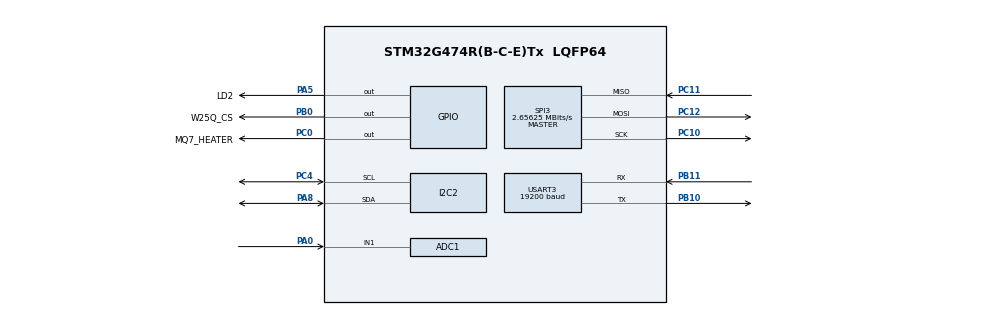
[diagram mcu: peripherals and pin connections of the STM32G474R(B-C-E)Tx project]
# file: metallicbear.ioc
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ADC1.Channel-2\#ChannelRegularConversion=ADC_CHANNEL_1
ADC1.NbrOfConversionFlag=1
ADC1.OffsetNumber-2\#ChannelRegularConversion=ADC_OFFSET_NONE
ADC1.Rank-2\#ChannelRegularConversion=1
ADC1.SamplingTime-2\#ChannelRegularConversion=ADC_SAMPLETIME_2CYCLES_5
ADC1.master=1
Dma.Request0=USART3_TX
Dma.Request1=USART3_RX
Dma.USART3_RX.1.Direction=DMA_PERIPH_TO_MEMORY
Dma.USART3_RX.1.EventEnable=DISABLE
Dma.USART3_RX.1.Instance=DMA1_Channel2
Dma.USART3_RX.1.MemDataAlignment=DMA_MDATAALIGN_BYTE
Dma.USART3_RX.1.MemInc=DMA_MINC_ENABLE
Dma.USART3_RX.1.Mode=DMA_NORMAL
Dma.USART3_RX.1.PeriphDataAlignment=DMA_PDATAALIGN_BYTE
Dma.USART3_RX.1.PeriphInc=DMA_PINC_DISABLE
Dma.USART3_RX.1.Polarity=HAL_DMAMUX_REQ_GEN_RISING
Dma.USART3_RX.1.Priority=DMA_PRIORITY_LOW
Dma.USART3_RX.1.RequestNumber=1
Dma.USART3_RX.1.SignalID=NONE
Dma.USART3_RX.1.SyncEnable=DISABLE
Dma.USART3_RX.1.SyncPolarity=HAL_DMAMUX_SYNC_NO_EVENT
Dma.USART3_RX.1.SyncRequestNumber=1
Dma.USART3_RX.1.SyncSignalID=NONE
Dma.USART3_TX.0.Direction=DMA_MEMORY_TO_PERIPH
Dma.USART3_TX.0.EventEnable=DISABLE
Dma.USART3_TX.0.Instance=DMA1_Channel1
Dma.USART3_TX.0.MemDataAlignment=DMA_MDATAALIGN_BYTE
Dma.USART3_TX.0.MemInc=DMA_MINC_ENABLE
Dma.USART3_TX.0.Mode=DMA_NORMAL
Dma.USART3_TX.0.PeriphDataAlignment=DMA_PDATAALIGN_BYTE
Dma.USART3_TX.0.PeriphInc=DMA_PINC_DISABLE
Dma.USART3_TX.0.Polarity=HAL_DMAMUX_REQ_GEN_RISING
Dma.USART3_TX.0.Priority=DMA_PRIORITY_LOW
Dma.USART3_TX.0.RequestNumber=1
Dma.USART3_TX.0.SignalID=NONE
Dma.USART3_TX.0.SyncEnable=DISABLE
Dma.USART3_TX.0.SyncPolarity=HAL_DMAMUX_SYNC_NO_EVENT
Dma.USART3_TX.0.SyncRequestNumber=1
Dma.USART3_TX.0.SyncSignalID=NONE
I2C2.Timing=0x40B285C2
Mcu.Family=STM32G4
Mcu.Name=STM32G474R(B-C-E)Tx
Mcu.Package=LQFP64
NVIC.ADC1_2_IRQn=true\:0\:0\:false\:false\:true\:true\:true\:true
NVIC.DMA1_Channel2_IRQn=true\:0\:0\:false\:false\:true\:true\:true\:true
NVIC.PriorityGroup=NVIC_PRIORITYGROUP_4
NVIC.TIM2_IRQn=true\:0\:0\:false\:false\:true\:true\:true\:true
NVIC.TIM7_DAC_IRQn=true\:0\:0\:false\:false\:true\:true\:true\:true
NVIC.USART3_IRQn=true\:0\:0\:false\:false\:true\:true\:true\:true
PA0.Mode=IN1-Single-Ended
PA0.Signal=ADC1_IN1
PA13.GPIO_Label=T_SWDIO
PA13.Mode=Serial_Wire
PA13.Signal=SYS_JTMS-SWDIO
PA14.GPIO_Label=T_SWCLK
PA14.Mode=Serial_Wire
PA14.Signal=SYS_JTCK-SWCLK
PA2.GPIO_Label=LPUART1_TX [STLINKV3E_VCP_RX]
PA2.Signal=LPUART1_TX
PA3.GPIO_Label=LPUART1_RX [STLINKV3E_VCP_TX]
PA3.Signal=LPUART1_RX
PA5.GPIO_Label=LD2
PA5.Signal=GPIO_Output
PA8.Mode=I2C
PA8.Signal=I2C2_SDA
PB0.GPIO_Label=W25Q_CS
PB0.Signal=GPIO_Output
PB10.Mode=Asynchronous
PB10.Signal=USART3_TX
PB11.Mode=Asynchronous
PB11.Signal=USART3_RX
PB3.GPIO_Label=T_SWO
PB3.Signal=SYS_JTDO-SWO
PC0.GPIO_Label=MQ7_HEATER
PC0.Signal=GPIO_Output
PC10.Mode=Full_Duplex_Master
PC10.Signal=SPI3_SCK
PC11.Mode=Full_Duplex_Master
PC11.Signal=SPI3_MISO
PC12.Mode=Full_Duplex_Master
PC12.Signal=SPI3_MOSI
PC14-OSC32_IN.GPIO_Label=RCC_OSC32_IN
PC14-OSC32_IN.Signal=RCC_OSC32_IN
PC15-OSC32_OUT.GPIO_Label=RCC_OSC32_OUT
PC15-OSC32_OUT.Signal=RCC_OSC32_OUT
PC4.Mode=I2C
PC4.Signal=I2C2_SCL
PF0-OSC_IN.GPIO_Label=RCC_OSC_IN
PF0-OSC_IN.Signal=RCC_OSC_IN
PF1-OSC_OUT.GPIO_Label=RCC_OSC_OUT
PF1-OSC_OUT.Signal=RCC_OSC_OUT
ProjectManager.HeapSize=0x200
ProjectManager.StackSize=0x400
ProjectManager.TargetToolchain=CMake
RCC.ADC12Freq_Value=170000000
RCC.ADC345Freq_Value=170000000
RCC.AHBFreq_Value=170000000
RCC.APB1Freq_Value=170000000
RCC.APB1TimFreq_Value=170000000
RCC.APB2Freq_Value=170000000
RCC.APB2TimFreq_Value=170000000
RCC.CortexFreq_Value=170000000
RCC.EXTERNAL_CLOCK_VALUE=12288000
RCC.HCLKFreq_Value=170000000
RCC.HSE_VALUE=8000000
RCC.HSI48_VALUE=48000000
RCC.HSI_VALUE=16000000
RCC.LSE_VALUE=32768
RCC.PLLM=RCC_PLLM_DIV4
RCC.PLLN=85
RCC.RTCClockSelection=RCC_RTCCLKSOURCE_LSE
RCC.SYSCLKFreq_VALUE=170000000
RCC.SYSCLKSource=RCC_SYSCLKSOURCE_PLLCLK
RCC.USBFreq_Value=170000000
RCC.VCOOutputFreq_Value=340000000
SPI3.BaudRatePrescaler=SPI_BAUDRATEPRESCALER_64
SPI3.CalculateBaudRate=2.65625 MBits/s
SPI3.DataSize=SPI_DATASIZE_8BIT
SPI3.Direction=SPI_DIRECTION_2LINES
SPI3.Mode=SPI_MODE_MASTER
SPI3.VirtualType=VM_MASTER
TIM2.Prescaler=16999
TIM6.PeriodNoDither=0xFFFF
TIM6.Prescaler=1
TIM7.Prescaler=16999
USART3.BaudRate=19200
USART3.VirtualMode-Asynchronous=VM_ASYNC
VP_SYS_VS_DBSignals.Mode=DisableDeadBatterySignals
VP_TIM2_VS_ClockSourceINT.Mode=Internal
VP_TIM2_VS_OPM.Mode=OPM_bit
VP_TIM6_VS_ClockSourceINT.Mode=Enable_Timer
VP_TIM7_VS_ClockSourceINT.Mode=Enable_Timer
VP_TIM7_VS_OPM.Mode=OPM_bit
board=NUCLEO-G474RE

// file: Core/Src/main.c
/* USER CODE BEGIN Header */
/**
  ******************************************************************************
  * @file           : main.c
  * @brief          : Main program body
  ******************************************************************************
  * @attention
  *
  * Copyright (c) 2026 STMicroelectronics.
  * All rights reserved.
  *
  * This software is licensed under terms that can be found in the LICENSE file
  * in the root directory of this software component.
  * If no LICENSE file comes with this software, it is provided AS-IS.
  *
  ******************************************************************************
  */
/* USER CODE END Header */
#include "main.h"

/* USER CODE BEGIN Includes */
#include <string.h>
#include "w25q_driver.h"
#include "bme688_driver.h"
#include "bme68x.h"
#include "scd30_driver.h"
#include "mq7_driver.h"
#include "self_test.h"

/* USER CODE END Includes */

/* USER CODE BEGIN PTD */
volatile w25q_status_t g_w25q_last_error = W25Q_OK;
volatile bme688_status_t g_bme688_last_error = BME688_OK;
volatile mq7_status_t g_mq7_last_error = MQ7_OK;

w25q_spi_handle_t w25q_spi3 = {
    SPI3,W25Q_CS_GPIO_Port, W25Q_CS_Pin
};
bme688_i2c_handle_t bme688_i2c2 = {
    I2C2, TIM6,
    BME68X_I2C_ADDR_LOW
};
scd30_uart_handle_t scd30_uart = {
    USART3, DMA1,
    DMA1_Channel1, DMA1_Channel2,
    1, 2 /* 1-based DMA channel numbers */
};
mq7_adc_handle_t mq7_adc = {
    ADC1
};
w25q_device_t w25q_device = {};
bme688_device_t bme688_device = {};
scd30_device_t scd30_device = {
    .timer = TIM7, .cycle_ms = 5000
};
mq7_device_t mq7_device = {
    .timer   = TIM2,
    .ht_port = MQ7_HEATER_GPIO_Port, .ht_pin = MQ7_HEATER_Pin
};
/* USER CODE END PTD */

void SystemClock_Config(void);
static void MX_GPIO_Init(void);
static void MX_DMA_Init(void);
static void MX_SPI3_Init(void);
static void MX_I2C2_Init(void);
static void MX_USART3_UART_Init(void);
static void MX_ADC1_Init(void);
static void MX_TIM6_Init(void);
static void MX_TIM7_Init(void);
static void MX_TIM2_Init(void);

/* USER CODE BEGIN 0 */
// interrupt context: only record that a reply arrived
static void scd30_read_buffer(uint8_t* rx, uint16_t len) { }
static void mq7_read_buffer(uint16_t value) {
}
/* USER CODE END 0 */

int main(void) {
    /* USER CODE BEGIN 1 */
    // SET_BIT(RCC->APB2ENR, RCC_APB2ENR_SPI1EN);
    /* USER CODE END 1 */

    /* MCU Configuration--------------------------------------------------------*/

    /* Reset of all peripherals, Initializes the Flash interface and the Systick. */
    LL_APB2_GRP1_EnableClock(LL_APB2_GRP1_PERIPH_SYSCFG);
    LL_APB1_GRP1_EnableClock(LL_APB1_GRP1_PERIPH_PWR);

    /* System interrupt init*/
    NVIC_SetPriorityGrouping(NVIC_PRIORITYGROUP_4);

    /** Disable the internal Pull-Up in Dead Battery pins of UCPD peripheral
    */
    LL_PWR_DisableUCPDDeadBattery();

    /* Configure the system clock */
    SystemClock_Config();

    /* Initialize all configured peripherals */
    MX_GPIO_Init();
    MX_DMA_Init();
    MX_SPI3_Init();
    MX_I2C2_Init();
    MX_USART3_UART_Init();
    MX_ADC1_Init();
    MX_TIM6_Init();
    MX_TIM7_Init();
    MX_TIM2_Init();
    /* USER CODE BEGIN 2 */
    LL_SYSTICK_EnableIT(); /* LL_Init1msTick leaves the SysTick interrupt off */

    if (w25q_spi_init(&w25q_spi3) != SPI_OK) {
        g_w25q_last_error = W25Q_ERROR_SPI_FAIL;
        Error_Handler();
    }
    g_w25q_last_error = w25q_init(&w25q_device, &w25q_spi3);
    if (g_w25q_last_error != W25Q_OK) {
        Error_Handler();
    }

    g_w25q_last_error = w25q_self_test(&w25q_device);
    if (g_w25q_last_error != W25Q_OK) {
        Error_Handler();
    }

    if (bme688_i2c_init(&bme688_i2c2) != I2C_OK) {
        Error_Handler();
    }
    if (bme688_init(&bme688_device, &bme688_i2c2) != BME688_OK) {
        Error_Handler();
    }
    g_bme688_last_error = bme688_self_test(&bme688_device);
    if (g_bme688_last_error != BME688_OK) {
        Error_Handler();
    }

    /**
     *          ------------ SCD30 -------------
     */
    if (scd30_uart_init(&scd30_uart) != UART_OK) {
        Error_Handler();
    }
    uint8_t read_buf[65]; // add one for overflow
    scd30_read_properties_t* props = &scd30_device.read_props;
    props->rx_buffer = read_buf;
    props->rx_cap = 64;

    if (scd30_init(&scd30_device, &scd30_uart, scd30_read_buffer) != SCD30_OK) {
        Error_Handler();
    }

    // sensor setup, before the DMA cycle runs
    scd30_uart_response_t scd30_resp;
    if (scd30_uart_write(&scd30_uart, SCD30_REG_MEASUREMENT_INTERVAL, (uint16_t)(scd30_device.cycle_ms / 1000U),
                         &scd30_resp) != UART_OK) {
        Error_Handler();
    }
    if (scd30_run(&scd30_device) != SCD30_OK) {
        Error_Handler();
    }

    /**
     *          ------------ MQ7 -------------
     */
    if (mq7_adc_init(&mq7_adc) != ADC_OK) {
        Error_Handler();
    }
    if (mq7_init(&mq7_device, &mq7_adc, mq7_read_buffer) != MQ7_OK) {
        Error_Handler();
    }
    g_mq7_last_error = mq7_self_test(&mq7_device);
    if (g_mq7_last_error != MQ7_OK) {
        Error_Handler();
    }
    if (mq7_run(&mq7_device) != MQ7_OK) {
        Error_Handler();
    }

    // /* scd30_uart_write tests: bad params */
    // {
    //     scd30_uart_response_t t_resp;
    //     printf("T1 scd30_uart_write(NULL handle): %d (want %d)\r\n",
    //            scd30_uart_write(NULL, SCD30_REG_MEASUREMENT_INTERVAL, 2U, &t_resp), UART_ERROR_INVALID_PARAMS);
    //     printf("T2 scd30_uart_write(NULL response): %d (want %d)\r\n",
    //            scd30_uart_write(&scd30_uart, SCD30_REG_MEASUREMENT_INTERVAL, 2U, NULL), UART_ERROR_INVALID_PARAMS);
    // }

    LL_GPIO_SetOutputPin(LD2_GPIO_Port, LD2_Pin);
    /* USER CODE END 2 */

    /* Infinite loop */
    while (1) {

    }
}

void SystemClock_Config(void) {
    LL_FLASH_SetLatency(LL_FLASH_LATENCY_4);
    while (LL_FLASH_GetLatency() != LL_FLASH_LATENCY_4) {}
    LL_PWR_EnableRange1BoostMode();
    LL_RCC_HSI_Enable();
    /* Wait till HSI is ready */
    while (LL_RCC_HSI_IsReady() != 1) {}

    LL_RCC_HSI_SetCalibTrimming(64);
    LL_RCC_PLL_ConfigDomain_SYS(LL_RCC_PLLSOURCE_HSI, LL_RCC_PLLM_DIV_4, 85, LL_RCC_PLLR_DIV_2);
    LL_RCC_PLL_EnableDomain_SYS();
    LL_RCC_PLL_Enable();
    /* Wait till PLL is ready */
    while (LL_RCC_PLL_IsReady() != 1) {}

    LL_RCC_SetSysClkSource(LL_RCC_SYS_CLKSOURCE_PLL);
    LL_RCC_SetAHBPrescaler(LL_RCC_SYSCLK_DIV_2);
    /* Wait till System clock is ready */
    while (LL_RCC_GetSysClkSource() != LL_RCC_SYS_CLKSOURCE_STATUS_PLL) {}

    /* Insure 1us transition state at intermediate medium speed clock*/
    for (__IO uint32_t i = (170 >> 1); i != 0; i--);

    /* Set AHB prescaler*/
    LL_RCC_SetAHBPrescaler(LL_RCC_SYSCLK_DIV_1);
    LL_RCC_SetAPB1Prescaler(LL_RCC_APB1_DIV_1);
    LL_RCC_SetAPB2Prescaler(LL_RCC_APB2_DIV_1);

    LL_Init1msTick(170000000);

    LL_SetSystemCoreClock(170000000);
}

static void MX_ADC1_Init(void) {

    LL_ADC_InitTypeDef ADC_InitStruct = {0};
    LL_ADC_REG_InitTypeDef ADC_REG_InitStruct = {0};
    LL_ADC_CommonInitTypeDef ADC_CommonInitStruct = {0};

    LL_GPIO_InitTypeDef GPIO_InitStruct = {0};

    LL_RCC_SetADCClockSource(LL_RCC_ADC12_CLKSOURCE_SYSCLK);

    /* Peripheral clock enable */
    LL_AHB2_GRP1_EnableClock(LL_AHB2_GRP1_PERIPH_ADC12);

    LL_AHB2_GRP1_EnableClock(LL_AHB2_GRP1_PERIPH_GPIOA);
    /**ADC1 GPIO Configuration
    PA0   ------> ADC1_IN1
    */
    GPIO_InitStruct.Pin = LL_GPIO_PIN_0;
    GPIO_InitStruct.Mode = LL_GPIO_MODE_ANALOG;
    GPIO_InitStruct.Pull = LL_GPIO_PULL_NO;
    LL_GPIO_Init(GPIOA, &GPIO_InitStruct);

    /* ADC1 interrupt Init */
    NVIC_SetPriority(ADC1_2_IRQn, NVIC_EncodePriority(NVIC_GetPriorityGrouping(), 0, 0));
    NVIC_EnableIRQ(ADC1_2_IRQn);

    /** Common config
    */
    ADC_InitStruct.Resolution = LL_ADC_RESOLUTION_12B;
    ADC_InitStruct.DataAlignment = LL_ADC_DATA_ALIGN_RIGHT;
    ADC_InitStruct.LowPowerMode = LL_ADC_LP_MODE_NONE;
    LL_ADC_Init(ADC1, &ADC_InitStruct);
    ADC_REG_InitStruct.TriggerSource = LL_ADC_REG_TRIG_SOFTWARE;
    ADC_REG_InitStruct.SequencerLength = LL_ADC_REG_SEQ_SCAN_DISABLE;
    ADC_REG_InitStruct.SequencerDiscont = LL_ADC_REG_SEQ_DISCONT_DISABLE;
    ADC_REG_InitStruct.ContinuousMode = LL_ADC_REG_CONV_SINGLE;
    ADC_REG_InitStruct.DMATransfer = LL_ADC_REG_DMA_TRANSFER_NONE;
    ADC_REG_InitStruct.Overrun = LL_ADC_REG_OVR_DATA_PRESERVED;
    LL_ADC_REG_Init(ADC1, &ADC_REG_InitStruct);
    LL_ADC_SetGainCompensation(ADC1, 0);
    LL_ADC_SetOverSamplingScope(ADC1, LL_ADC_OVS_DISABLE);
    ADC_CommonInitStruct.CommonClock = LL_ADC_CLOCK_SYNC_PCLK_DIV4;
    ADC_CommonInitStruct.Multimode = LL_ADC_MULTI_INDEPENDENT;
    LL_ADC_CommonInit(__LL_ADC_COMMON_INSTANCE(ADC1), &ADC_CommonInitStruct);

    /* Disable ADC deep power down (enabled by default after reset state) */
    LL_ADC_DisableDeepPowerDown(ADC1);
    /* Enable ADC internal voltage regulator */
    LL_ADC_EnableInternalRegulator(ADC1);
    /* Delay for ADC internal voltage regulator stabilization. */
    /* Compute number of CPU cycles to wait for, from delay in us. */
    /* Note: Variable divided by 2 to compensate partially */
    /* CPU processing cycles (depends on compilation optimization). */
    /* Note: If system core clock frequency is below 200kHz, wait time */
    /* is only a few CPU processing cycles. */
    uint32_t wait_loop_index;
    wait_loop_index = ((LL_ADC_DELAY_INTERNAL_REGUL_STAB_US * (SystemCoreClock / (100000 * 2))) / 10);
    while (wait_loop_index != 0) {
        wait_loop_index--;
    }

    /** Configure Regular Channel
    */
    LL_ADC_REG_SetSequencerRanks(ADC1, LL_ADC_REG_RANK_1, LL_ADC_CHANNEL_1);
    LL_ADC_SetChannelSamplingTime(ADC1, LL_ADC_CHANNEL_1, LL_ADC_SAMPLINGTIME_2CYCLES_5);
    LL_ADC_SetChannelSingleDiff(ADC1, LL_ADC_CHANNEL_1, LL_ADC_SINGLE_ENDED);
}

static void MX_I2C2_Init(void) {

    LL_I2C_InitTypeDef I2C_InitStruct = {0};

    LL_GPIO_InitTypeDef GPIO_InitStruct = {0};

    LL_RCC_SetI2CClockSource(LL_RCC_I2C2_CLKSOURCE_PCLK1);

    LL_AHB2_GRP1_EnableClock(LL_AHB2_GRP1_PERIPH_GPIOC);
    LL_AHB2_GRP1_EnableClock(LL_AHB2_GRP1_PERIPH_GPIOA);
    /**I2C2 GPIO Configuration
    PC4   ------> I2C2_SCL
    PA8   ------> I2C2_SDA
    */
    GPIO_InitStruct.Pin = LL_GPIO_PIN_4;
    GPIO_InitStruct.Mode = LL_GPIO_MODE_ALTERNATE;
    GPIO_InitStruct.Speed = LL_GPIO_SPEED_FREQ_LOW;
    GPIO_InitStruct.OutputType = LL_GPIO_OUTPUT_OPENDRAIN;
    GPIO_InitStruct.Pull = LL_GPIO_PULL_NO;
    GPIO_InitStruct.Alternate = LL_GPIO_AF_4;
    LL_GPIO_Init(GPIOC, &GPIO_InitStruct);

    GPIO_InitStruct.Pin = LL_GPIO_PIN_8;
    GPIO_InitStruct.Mode = LL_GPIO_MODE_ALTERNATE;
    GPIO_InitStruct.Speed = LL_GPIO_SPEED_FREQ_LOW;
    GPIO_InitStruct.OutputType = LL_GPIO_OUTPUT_OPENDRAIN;
    GPIO_InitStruct.Pull = LL_GPIO_PULL_NO;
    GPIO_InitStruct.Alternate = LL_GPIO_AF_4;
    LL_GPIO_Init(GPIOA, &GPIO_InitStruct);

    /* Peripheral clock enable */
    LL_APB1_GRP1_EnableClock(LL_APB1_GRP1_PERIPH_I2C2);

    /** I2C Initialization
    */
    I2C_InitStruct.PeripheralMode = LL_I2C_MODE_I2C;
    I2C_InitStruct.Timing = 0x40B285C2;
    I2C_InitStruct.AnalogFilter = LL_I2C_ANALOGFILTER_ENABLE;
    I2C_InitStruct.DigitalFilter = 0;
    I2C_InitStruct.OwnAddress1 = 0;
    I2C_InitStruct.TypeAcknowledge = LL_I2C_ACK;
    I2C_InitStruct.OwnAddrSize = LL_I2C_OWNADDRESS1_7BIT;
    LL_I2C_Init(I2C2, &I2C_InitStruct);
    LL_I2C_EnableAutoEndMode(I2C2);
    LL_I2C_SetOwnAddress2(I2C2, 0, LL_I2C_OWNADDRESS2_NOMASK);
    LL_I2C_DisableOwnAddress2(I2C2);
    LL_I2C_DisableGeneralCall(I2C2);
    LL_I2C_EnableClockStretching(I2C2);
}

static void MX_SPI3_Init(void) {

    LL_SPI_InitTypeDef SPI_InitStruct = {0};

    LL_GPIO_InitTypeDef GPIO_InitStruct = {0};

    /* Peripheral clock enable */
    LL_APB1_GRP1_EnableClock(LL_APB1_GRP1_PERIPH_SPI3);

    LL_AHB2_GRP1_EnableClock(LL_AHB2_GRP1_PERIPH_GPIOC);
    /**SPI3 GPIO Configuration
    PC10   ------> SPI3_SCK
    PC11   ------> SPI3_MISO
    PC12   ------> SPI3_MOSI
    */
    GPIO_InitStruct.Pin = LL_GPIO_PIN_10;
    GPIO_InitStruct.Mode = LL_GPIO_MODE_ALTERNATE;
    GPIO_InitStruct.Speed = LL_GPIO_SPEED_FREQ_LOW;
    GPIO_InitStruct.OutputType = LL_GPIO_OUTPUT_PUSHPULL;
    GPIO_InitStruct.Pull = LL_GPIO_PULL_NO;
    GPIO_InitStruct.Alternate = LL_GPIO_AF_6;
    LL_GPIO_Init(GPIOC, &GPIO_InitStruct);

    GPIO_InitStruct.Pin = LL_GPIO_PIN_11;
    GPIO_InitStruct.Mode = LL_GPIO_MODE_ALTERNATE;
    GPIO_InitStruct.Speed = LL_GPIO_SPEED_FREQ_LOW;
    GPIO_InitStruct.OutputType = LL_GPIO_OUTPUT_PUSHPULL;
    GPIO_InitStruct.Pull = LL_GPIO_PULL_NO;
    GPIO_InitStruct.Alternate = LL_GPIO_AF_6;
    LL_GPIO_Init(GPIOC, &GPIO_InitStruct);

    GPIO_InitStruct.Pin = LL_GPIO_PIN_12;
    GPIO_InitStruct.Mode = LL_GPIO_MODE_ALTERNATE;
    GPIO_InitStruct.Speed = LL_GPIO_SPEED_FREQ_LOW;
    GPIO_InitStruct.OutputType = LL_GPIO_OUTPUT_PUSHPULL;
    GPIO_InitStruct.Pull = LL_GPIO_PULL_NO;
    GPIO_InitStruct.Alternate = LL_GPIO_AF_6;
    LL_GPIO_Init(GPIOC, &GPIO_InitStruct);

    /* SPI3 parameter configuration*/
    SPI_InitStruct.TransferDirection = LL_SPI_FULL_DUPLEX;
    SPI_InitStruct.Mode = LL_SPI_MODE_MASTER;
    SPI_InitStruct.DataWidth = LL_SPI_DATAWIDTH_8BIT;
    SPI_InitStruct.ClockPolarity = LL_SPI_POLARITY_LOW;
    SPI_InitStruct.ClockPhase = LL_SPI_PHASE_1EDGE;
    SPI_InitStruct.NSS = LL_SPI_NSS_SOFT;
    SPI_InitStruct.BaudRate = LL_SPI_BAUDRATEPRESCALER_DIV64;
    SPI_InitStruct.BitOrder = LL_SPI_MSB_FIRST;
    SPI_InitStruct.CRCCalculation = LL_SPI_CRCCALCULATION_DISABLE;
    SPI_InitStruct.CRCPoly = 7;
    LL_SPI_Init(SPI3, &SPI_InitStruct);
    LL_SPI_SetStandard(SPI3, LL_SPI_PROTOCOL_MOTOROLA);
    LL_SPI_EnableNSSPulseMgt(SPI3);
}

static void MX_TIM2_Init(void) {

    LL_TIM_InitTypeDef TIM_InitStruct = {0};

    /* Peripheral clock enable */
    LL_APB1_GRP1_EnableClock(LL_APB1_GRP1_PERIPH_TIM2);

    /* TIM2 interrupt Init */
    NVIC_SetPriority(TIM2_IRQn, NVIC_EncodePriority(NVIC_GetPriorityGrouping(), 0, 0));
    NVIC_EnableIRQ(TIM2_IRQn);

    TIM_InitStruct.Prescaler = 16999;
    TIM_InitStruct.CounterMode = LL_TIM_COUNTERMODE_UP;
    TIM_InitStruct.Autoreload = 4294967295;
    TIM_InitStruct.ClockDivision = LL_TIM_CLOCKDIVISION_DIV1;
    LL_TIM_Init(TIM2, &TIM_InitStruct);
    LL_TIM_DisableARRPreload(TIM2);
    LL_TIM_SetClockSource(TIM2, LL_TIM_CLOCKSOURCE_INTERNAL);
    LL_TIM_SetOnePulseMode(TIM2, LL_TIM_ONEPULSEMODE_SINGLE);
    LL_TIM_SetTriggerOutput(TIM2, LL_TIM_TRGO_RESET);
    LL_TIM_DisableMasterSlaveMode(TIM2);
}

static void MX_TIM6_Init(void) {

    LL_TIM_InitTypeDef TIM_InitStruct = {0};

    /* Peripheral clock enable */
    LL_APB1_GRP1_EnableClock(LL_APB1_GRP1_PERIPH_TIM6);

    TIM_InitStruct.Prescaler = 1;
    TIM_InitStruct.CounterMode = LL_TIM_COUNTERMODE_UP;
    TIM_InitStruct.Autoreload = 65535;
    LL_TIM_Init(TIM6, &TIM_InitStruct);
    LL_TIM_DisableARRPreload(TIM6);
    LL_TIM_SetTriggerOutput(TIM6, LL_TIM_TRGO_RESET);
    LL_TIM_DisableMasterSlaveMode(TIM6);
}

static void MX_TIM7_Init(void) {

    LL_TIM_InitTypeDef TIM_InitStruct = {0};

    /* Peripheral clock enable */
    LL_APB1_GRP1_EnableClock(LL_APB1_GRP1_PERIPH_TIM7);

    /* TIM7 interrupt Init */
    NVIC_SetPriority(TIM7_DAC_IRQn, NVIC_EncodePriority(NVIC_GetPriorityGrouping(), 0, 0));
    NVIC_EnableIRQ(TIM7_DAC_IRQn);

    TIM_InitStruct.Prescaler = 16999;
    TIM_InitStruct.CounterMode = LL_TIM_COUNTERMODE_UP;
    TIM_InitStruct.Autoreload = 65535;
    LL_TIM_Init(TIM7, &TIM_InitStruct);
    LL_TIM_DisableARRPreload(TIM7);
    LL_TIM_SetOnePulseMode(TIM7, LL_TIM_ONEPULSEMODE_SINGLE);
    LL_TIM_SetTriggerOutput(TIM7, LL_TIM_TRGO_RESET);
    LL_TIM_DisableMasterSlaveMode(TIM7);
}

static void MX_USART3_UART_Init(void) {

    LL_USART_InitTypeDef USART_InitStruct = {0};

    LL_GPIO_InitTypeDef GPIO_InitStruct = {0};

    LL_RCC_SetUSARTClockSource(LL_RCC_USART3_CLKSOURCE_PCLK1);

    /* Peripheral clock enable */
    LL_APB1_GRP1_EnableClock(LL_APB1_GRP1_PERIPH_USART3);

    LL_AHB2_GRP1_EnableClock(LL_AHB2_GRP1_PERIPH_GPIOB);
    /**USART3 GPIO Configuration
    PB10   ------> USART3_TX
    PB11   ------> USART3_RX
    */
    GPIO_InitStruct.Pin = LL_GPIO_PIN_10;
    GPIO_InitStruct.Mode = LL_GPIO_MODE_ALTERNATE;
    GPIO_InitStruct.Speed = LL_GPIO_SPEED_FREQ_LOW;
    GPIO_InitStruct.OutputType = LL_GPIO_OUTPUT_PUSHPULL;
    GPIO_InitStruct.Pull = LL_GPIO_PULL_NO;
    GPIO_InitStruct.Alternate = LL_GPIO_AF_7;
    LL_GPIO_Init(GPIOB, &GPIO_InitStruct);

    GPIO_InitStruct.Pin = LL_GPIO_PIN_11;
    GPIO_InitStruct.Mode = LL_GPIO_MODE_ALTERNATE;
    GPIO_InitStruct.Speed = LL_GPIO_SPEED_FREQ_LOW;
    GPIO_InitStruct.OutputType = LL_GPIO_OUTPUT_PUSHPULL;
    GPIO_InitStruct.Pull = LL_GPIO_PULL_NO;
    GPIO_InitStruct.Alternate = LL_GPIO_AF_7;
    LL_GPIO_Init(GPIOB, &GPIO_InitStruct);

    /* USART3 DMA Init */

    /* USART3_TX Init */
    LL_DMA_SetPeriphRequest(DMA1, LL_DMA_CHANNEL_1, LL_DMAMUX_REQ_USART3_TX);

    LL_DMA_SetDataTransferDirection(DMA1, LL_DMA_CHANNEL_1, LL_DMA_DIRECTION_MEMORY_TO_PERIPH);

    LL_DMA_SetChannelPriorityLevel(DMA1, LL_DMA_CHANNEL_1, LL_DMA_PRIORITY_LOW);

    LL_DMA_SetMode(DMA1, LL_DMA_CHANNEL_1, LL_DMA_MODE_NORMAL);

    LL_DMA_SetPeriphIncMode(DMA1, LL_DMA_CHANNEL_1, LL_DMA_PERIPH_NOINCREMENT);

    LL_DMA_SetMemoryIncMode(DMA1, LL_DMA_CHANNEL_1, LL_DMA_MEMORY_INCREMENT);

    LL_DMA_SetPeriphSize(DMA1, LL_DMA_CHANNEL_1, LL_DMA_PDATAALIGN_BYTE);

    LL_DMA_SetMemorySize(DMA1, LL_DMA_CHANNEL_1, LL_DMA_MDATAALIGN_BYTE);

    /* USART3_RX Init */
    LL_DMA_SetPeriphRequest(DMA1, LL_DMA_CHANNEL_2, LL_DMAMUX_REQ_USART3_RX);

    LL_DMA_SetDataTransferDirection(DMA1, LL_DMA_CHANNEL_2, LL_DMA_DIRECTION_PERIPH_TO_MEMORY);

    LL_DMA_SetChannelPriorityLevel(DMA1, LL_DMA_CHANNEL_2, LL_DMA_PRIORITY_LOW);

    LL_DMA_SetMode(DMA1, LL_DMA_CHANNEL_2, LL_DMA_MODE_NORMAL);

    LL_DMA_SetPeriphIncMode(DMA1, LL_DMA_CHANNEL_2, LL_DMA_PERIPH_NOINCREMENT);

    LL_DMA_SetMemoryIncMode(DMA1, LL_DMA_CHANNEL_2, LL_DMA_MEMORY_INCREMENT);

    LL_DMA_SetPeriphSize(DMA1, LL_DMA_CHANNEL_2, LL_DMA_PDATAALIGN_BYTE);

    LL_DMA_SetMemorySize(DMA1, LL_DMA_CHANNEL_2, LL_DMA_MDATAALIGN_BYTE);

    /* USART3 interrupt Init */
    NVIC_SetPriority(USART3_IRQn, NVIC_EncodePriority(NVIC_GetPriorityGrouping(), 0, 0));
    NVIC_EnableIRQ(USART3_IRQn);

    USART_InitStruct.PrescalerValue = LL_USART_PRESCALER_DIV1;
    USART_InitStruct.BaudRate = 19200;
    USART_InitStruct.DataWidth = LL_USART_DATAWIDTH_8B;
    USART_InitStruct.StopBits = LL_USART_STOPBITS_1;
    USART_InitStruct.Parity = LL_USART_PARITY_NONE;
    USART_InitStruct.TransferDirection = LL_USART_DIRECTION_TX_RX;
    USART_InitStruct.HardwareFlowControl = LL_USART_HWCONTROL_NONE;
    USART_InitStruct.OverSampling = LL_USART_OVERSAMPLING_16;
    LL_USART_Init(USART3, &USART_InitStruct);
    LL_USART_SetTXFIFOThreshold(USART3, LL_USART_FIFOTHRESHOLD_1_8);
    LL_USART_SetRXFIFOThreshold(USART3, LL_USART_FIFOTHRESHOLD_1_8);
    LL_USART_DisableFIFO(USART3);
    LL_USART_ConfigAsyncMode(USART3);

    LL_USART_Enable(USART3);

    /* Polling USART3 initialisation */
    while ((!(LL_USART_IsActiveFlag_TEACK(USART3))) || (!(LL_USART_IsActiveFlag_REACK(USART3)))) {}
}

static void MX_DMA_Init(void) {
    /* Init with LL driver */
    /* DMA controller clock enable */
    LL_AHB1_GRP1_EnableClock(LL_AHB1_GRP1_PERIPH_DMAMUX1);
    LL_AHB1_GRP1_EnableClock(LL_AHB1_GRP1_PERIPH_DMA1);

    /* DMA interrupt init */
    /* DMA1_Channel2_IRQn interrupt configuration */
    NVIC_SetPriority(DMA1_Channel2_IRQn, NVIC_EncodePriority(NVIC_GetPriorityGrouping(), 0, 0));
    NVIC_EnableIRQ(DMA1_Channel2_IRQn);
}

static void MX_GPIO_Init(void) {
    LL_GPIO_InitTypeDef GPIO_InitStruct = {0};

    /* GPIO Ports Clock Enable */
    LL_AHB2_GRP1_EnableClock(LL_AHB2_GRP1_PERIPH_GPIOC);
    LL_AHB2_GRP1_EnableClock(LL_AHB2_GRP1_PERIPH_GPIOF);
    LL_AHB2_GRP1_EnableClock(LL_AHB2_GRP1_PERIPH_GPIOA);
    LL_AHB2_GRP1_EnableClock(LL_AHB2_GRP1_PERIPH_GPIOB);

    /**/
    LL_GPIO_ResetOutputPin(MQ7_HEATER_GPIO_Port, MQ7_HEATER_Pin);

    /**/
    LL_GPIO_ResetOutputPin(LD2_GPIO_Port, LD2_Pin);

    /**/
    LL_GPIO_ResetOutputPin(W25Q_CS_GPIO_Port, W25Q_CS_Pin);

    /**/
    GPIO_InitStruct.Pin = MQ7_HEATER_Pin;
    GPIO_InitStruct.Mode = LL_GPIO_MODE_OUTPUT;
    GPIO_InitStruct.Speed = LL_GPIO_SPEED_FREQ_LOW;
    GPIO_InitStruct.OutputType = LL_GPIO_OUTPUT_PUSHPULL;
    GPIO_InitStruct.Pull = LL_GPIO_PULL_NO;
    LL_GPIO_Init(MQ7_HEATER_GPIO_Port, &GPIO_InitStruct);

    /**/
    GPIO_InitStruct.Pin = LPUART1_TX_Pin;
    GPIO_InitStruct.Mode = LL_GPIO_MODE_ALTERNATE;
    GPIO_InitStruct.Speed = LL_GPIO_SPEED_FREQ_LOW;
    GPIO_InitStruct.OutputType = LL_GPIO_OUTPUT_PUSHPULL;
    GPIO_InitStruct.Pull = LL_GPIO_PULL_NO;
    GPIO_InitStruct.Alternate = LL_GPIO_AF_12;
    LL_GPIO_Init(LPUART1_TX_GPIO_Port, &GPIO_InitStruct);

    /**/
    GPIO_InitStruct.Pin = LPUART1_RX_Pin;
    GPIO_InitStruct.Mode = LL_GPIO_MODE_ALTERNATE;
    GPIO_InitStruct.Speed = LL_GPIO_SPEED_FREQ_LOW;
    GPIO_InitStruct.OutputType = LL_GPIO_OUTPUT_PUSHPULL;
    GPIO_InitStruct.Pull = LL_GPIO_PULL_NO;
    GPIO_InitStruct.Alternate = LL_GPIO_AF_12;
    LL_GPIO_Init(LPUART1_RX_GPIO_Port, &GPIO_InitStruct);

    /**/
    GPIO_InitStruct.Pin = LD2_Pin;
    GPIO_InitStruct.Mode = LL_GPIO_MODE_OUTPUT;
    GPIO_InitStruct.Speed = LL_GPIO_SPEED_FREQ_LOW;
    GPIO_InitStruct.OutputType = LL_GPIO_OUTPUT_PUSHPULL;
    GPIO_InitStruct.Pull = LL_GPIO_PULL_NO;
    LL_GPIO_Init(LD2_GPIO_Port, &GPIO_InitStruct);

    /**/
    GPIO_InitStruct.Pin = W25Q_CS_Pin;
    GPIO_InitStruct.Mode = LL_GPIO_MODE_OUTPUT;
    GPIO_InitStruct.Speed = LL_GPIO_SPEED_FREQ_LOW;
    GPIO_InitStruct.OutputType = LL_GPIO_OUTPUT_PUSHPULL;
    GPIO_InitStruct.Pull = LL_GPIO_PULL_NO;
    LL_GPIO_Init(W25Q_CS_GPIO_Port, &GPIO_InitStruct);

}

void Error_Handler(void) {
    __disable_irq();
    while (1) {}
}
